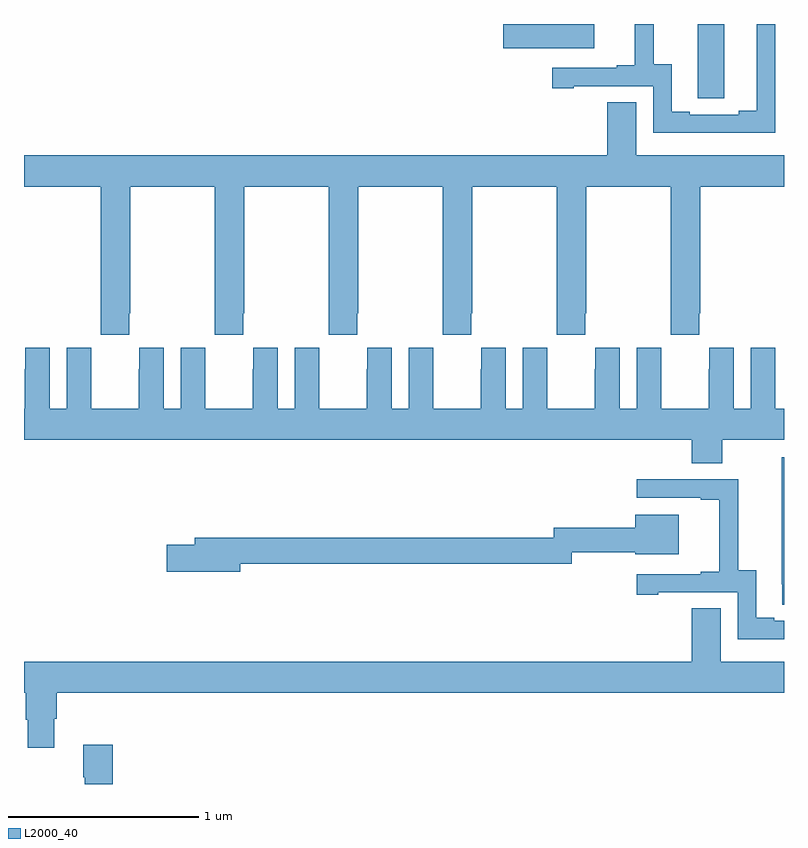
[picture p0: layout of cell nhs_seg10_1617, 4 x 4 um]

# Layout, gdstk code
import gdstk
lib = gdstk.Library(unit=1e-6, precision=1e-09)
def R(c, l, rs):  # rectangles x0, y0, x1, y1
    for r in rs: c.add(gdstk.rectangle(r[:2], r[2:], *l))
def P(c, l, *ps):  # polygons
    for p in ps: c.add(gdstk.Polygon(p, *l))
L2000_40 = (2000, 40)

nhs_seg10_1617 = lib.new_cell('nhs_seg10_1617')
R(nhs_seg10_1617, L2000_40, [(197.522,1306.373,198.001,1306.5)])
P(nhs_seg10_1617, L2000_40, [(198.685,1306.5),(198.545,1306.5),(198.545,1306.216),(198.546,1306.216),(198.546,1306.108),(198.685,1306.108)],
  [(198.954,1306.5),(198.857,1306.5),(198.857,1306.043),(198.761,1306.043),(198.761,1306.023),(198.505,1306.023),(198.505,1306.038),(198.409,1306.038),(198.409,1306.289),(198.315,1306.289),(198.315,1306.5),(198.215,1306.5),(198.215,1306.282),(198.119,1306.282),(198.119,1306.269),(197.781,1306.269),(197.781,1306.161),(197.893,1306.161),(197.893,1306.173),(198.312,1306.173),(198.312,1305.927),(198.954,1305.927)],
  [(195.555,1304.977),(195.558,1304.977),(195.558,1305.644),(196.003,1305.644),(196.003,1304.977),(196.005,1304.977),(196.005,1304.865),(196.155,1304.865),(196.155,1304.977),(196.158,1304.977),(196.158,1305.644),(196.603,1305.644),(196.603,1304.977),(196.605,1304.977),(196.605,1304.865),(196.755,1304.865),(196.755,1304.977),(196.758,1304.977),(196.758,1305.644),(197.203,1305.644),(197.203,1304.977),(197.205,1304.977),(197.205,1304.865),(197.355,1304.865),(197.355,1304.977),(197.358,1304.977),(197.358,1305.644),(197.803,1305.644),(197.803,1304.977),(197.805,1304.977),(197.805,1304.865),(197.955,1304.865),(197.955,1304.977),(197.958,1304.977),(197.958,1305.644),(198.403,1305.644),(198.403,1304.977),(198.405,1304.977),(198.405,1304.865),(198.555,1304.865),(198.555,1304.977),(198.558,1304.977),(198.558,1305.644),(199,1305.644),(199,1305.808),(198.223,1305.808),(198.223,1306.088),(198.071,1306.088),(198.071,1305.808),(195,1305.808),(195,1305.644),(195.403,1305.644),(195.403,1304.977),(195.405,1304.977),(195.405,1304.865),(195.555,1304.865)],
  [(195.954,1304.684),(195.954,1304.797),(195.824,1304.797),(195.824,1304.476),(195.736,1304.476),(195.736,1304.797),(195.606,1304.797),(195.606,1304.684),(195.605,1304.684),(195.605,1304.476),(195.355,1304.476),(195.355,1304.684),(195.354,1304.684),(195.354,1304.797),(195.224,1304.797),(195.224,1304.476),(195.136,1304.476),(195.136,1304.797),(195.006,1304.797),(195.006,1304.684),(195.005,1304.684),(195.005,1304.476),(195,1304.476),(195,1304.312),(198.515,1304.312),(198.515,1304.188),(198.675,1304.188),(198.675,1304.312),(199,1304.312),(199,1304.476),(198.955,1304.476),(198.955,1304.684),(198.954,1304.684),(198.954,1304.797),(198.824,1304.797),(198.824,1304.476),(198.736,1304.476),(198.736,1304.797),(198.606,1304.797),(198.606,1304.684),(198.605,1304.684),(198.605,1304.476),(198.355,1304.476),(198.355,1304.684),(198.354,1304.684),(198.354,1304.797),(198.224,1304.797),(198.224,1304.476),(198.136,1304.476),(198.136,1304.797),(198.006,1304.797),(198.006,1304.684),(198.005,1304.684),(198.005,1304.476),(197.755,1304.476),(197.755,1304.684),(197.754,1304.684),(197.754,1304.797),(197.624,1304.797),(197.624,1304.476),(197.536,1304.476),(197.536,1304.797),(197.406,1304.797),(197.406,1304.684),(197.405,1304.684),(197.405,1304.476),(197.155,1304.476),(197.155,1304.684),(197.154,1304.684),(197.154,1304.797),(197.024,1304.797),(197.024,1304.476),(196.936,1304.476),(196.936,1304.797),(196.806,1304.797),(196.806,1304.684),(196.805,1304.684),(196.805,1304.476),(196.555,1304.476),(196.555,1304.684),(196.554,1304.684),(196.554,1304.797),(196.424,1304.797),(196.424,1304.476),(196.336,1304.476),(196.336,1304.797),(196.206,1304.797),(196.206,1304.684),(196.205,1304.684),(196.205,1304.476),(195.955,1304.476),(195.955,1304.684)],
  [(199,1304.22),(198.989,1304.22),(198.989,1303.552),(198.99,1303.552),(198.99,1303.444),(199,1303.444)],
  [(199,1303.359),(198.949,1303.359),(198.949,1303.374),(198.853,1303.374),(198.853,1303.625),(198.759,1303.625),(198.759,1304.103),(198.225,1304.103),(198.225,1304.007),(198.563,1304.007),(198.563,1303.995),(198.659,1303.995),(198.659,1303.618),(198.563,1303.618),(198.563,1303.605),(198.225,1303.605),(198.225,1303.497),(198.337,1303.497),(198.337,1303.509),(198.756,1303.509),(198.756,1303.263),(199,1303.263)],
  [(196.138,1303.66),(197.883,1303.66),(197.883,1303.72),(198.218,1303.72),(198.218,1303.709),(198.445,1303.709),(198.445,1303.918),(198.218,1303.918),(198.218,1303.849),(197.787,1303.849),(197.787,1303.796),(195.899,1303.796),(195.899,1303.76),(195.75,1303.76),(195.75,1303.618),(196.138,1303.618)],
  [(195,1302.98),(195.008,1302.98),(195.008,1302.838),(195.02,1302.838),(195.02,1302.69),(195.16,1302.69),(195.16,1302.843),(195.173,1302.843),(195.173,1302.98),(199,1302.98),(199,1303.144),(198.667,1303.144),(198.667,1303.424),(198.515,1303.424),(198.515,1303.144),(195,1303.144)],
  [(195.467,1302.706),(195.313,1302.706),(195.313,1302.536),(195.32,1302.536),(195.32,1302.5),(195.467,1302.5)])

lib.write_gds('nhs_seg10_1617.gds')
